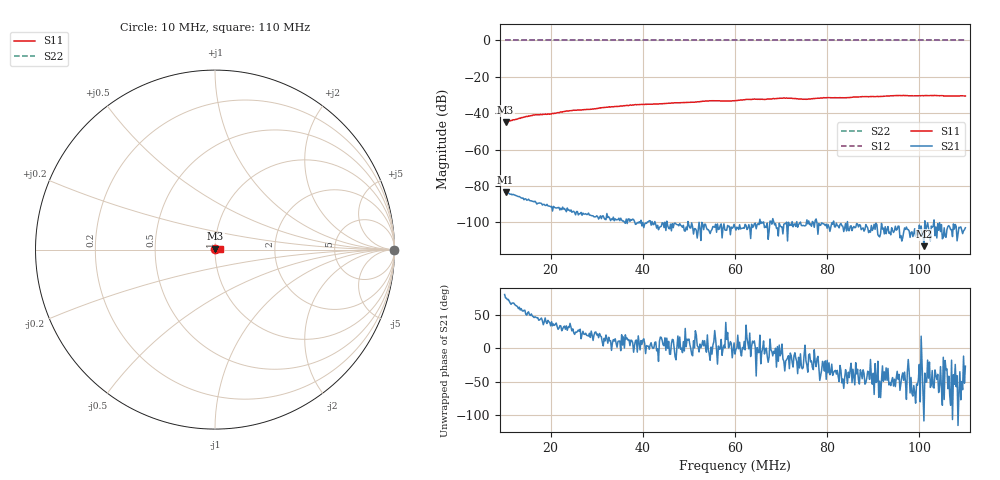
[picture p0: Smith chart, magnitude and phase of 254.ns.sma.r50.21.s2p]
! Anritsu VNA Master:  Model: MS2036C/10/77
! SN:  1601066
! /card0/usr/254.ns.sma.r50.21.s2p
! Existing Calibration Information:
! TYPE:  Current Settings,  Active Cal Settings
! TIME:  12/20/2017 01:47:32 PM,  12/20/2017 01:40:30 PM
! INTERNAL TEMP:  46.5 C,  46.0 C
! # POINTS:  501,  501
! START FREQ:  10.000 MHz,  10.000 MHz
! STOP FREQ:  110.000 MHz,  110.000 MHz
! SOURCE POWER:  High,  High
! IFBW:  100 Hz,  100 Hz
! AVG FACTOR:  1 ,  1
! REF PLANE 1:  0 mm,  0 mm
! REF PLANE 2:  0 mm,  0 mm
! CAL TYPE:  Full S11,  Full S11
! CAL METHOD:  SOLT,  SOLT
! CAL LINE TYPE:  Coax,  Coax
! DUT PORT 1:  N-Conn(F),  N-Conn(F)
! DUT PORT 2:  K-Conn(F),  K-Conn(F)
! CAL STATUS:  OK: Accuracy High,  --
# GHZ S DB R 50.0
! FREQ.GHZ  S11DB  S11A  S21DB  S21A  S12DB  S12A  S22DB  S22A
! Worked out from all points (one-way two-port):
!   501 points, 10 MHz to 110 MHz, reference 50 ohm
!   highest |S21| = -83.32 dB at 10.2 MHz (marker M1); lowest = -113.2 dB at 101 MHz (marker M2)
!   lowest |S11| = -44.9 dB at 10.2 MHz (marker M3), VSWR 1.01, Z = 50.2 + j0.513 ohm
!   |S11| at or under -10 dB: start of sweep to end of sweep
!   |S22| runs from 0.0 to 0.0 dB; largest |S21 - S12| = 1
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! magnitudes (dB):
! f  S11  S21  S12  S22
! 10 MHz  -44.7  -83.5  0.0  0.0
! 10.2 MHz  -44.9  -83.3  0.0  0.0
! 16.6 MHz  -41.0  -88.4  0.0  0.0
! 19.6 MHz  -40.6  -91.1  0.0  0.0
! 23.8 MHz  -38.8  -93.3  0.0  0.0
! 26.8 MHz  -38.2  -96.2  0.0  0.0
! 38.2 MHz  -35.4  -99.6  0.0  0.0
! 43.4 MHz  -34.9  -104.1  0.0  0.0
! 51 MHz  -34.0  -106.5  0.0  0.0
! 54.8 MHz  -33.2  -104.8  0.0  0.0
! 60 MHz  -33.1  -102.7  0.0  0.0
! 62.6 MHz  -32.4  -104.0  0.0  0.0
! 66.4 MHz  -32.5  -102.9  0.0  0.0
! 70.2 MHz  -31.8  -102.5  0.0  0.0
! 75 MHz  -32.2  -101.9  0.0  0.0
! 76.8 MHz  -32.1  -99.6  0.0  0.0
! 79.6 MHz  -31.5  -101.8  0.0  0.0
! 84 MHz  -31.5  -100.7  0.0  0.0
! 87.8 MHz  -30.9  -103.1  0.0  0.0
! 93.4 MHz  -30.5  -106.0  0.0  0.0
! 101 MHz  -30.4  -113.2  0.0  0.0
! 110 MHz  -30.6  -103.0  0.0  0.0
